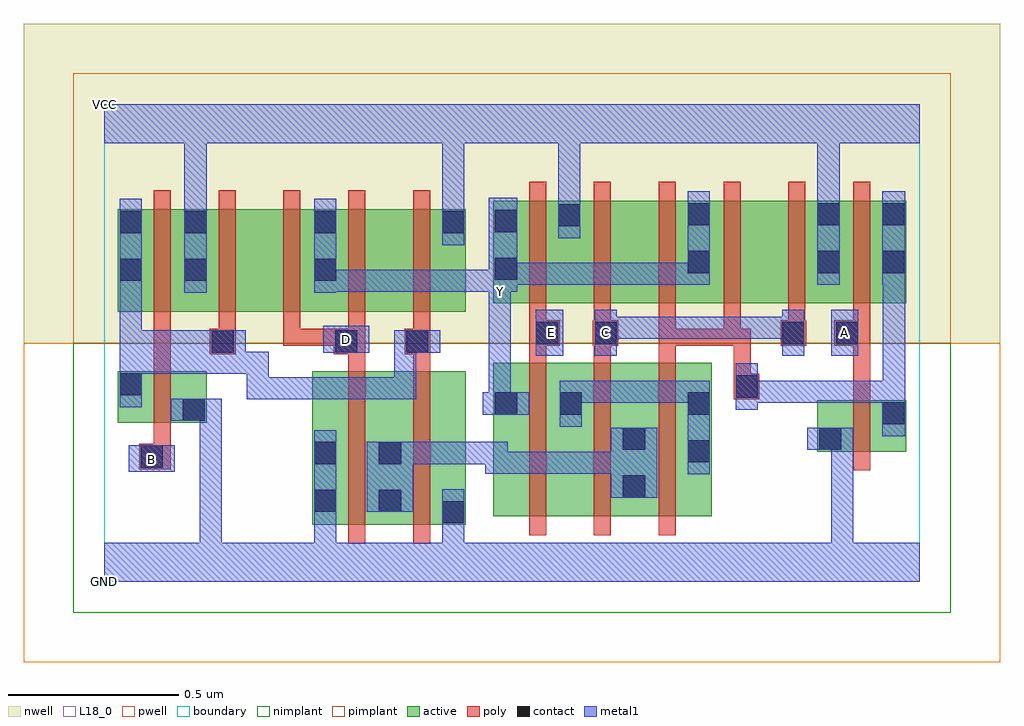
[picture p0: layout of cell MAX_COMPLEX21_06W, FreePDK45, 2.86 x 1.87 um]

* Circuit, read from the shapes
.subckt MAX_COMPLEX21_06W A B C D E GND VCC Y
M1 GND B n1 VSUBS nfet w=0.15u l=0.05u
M2 n2 D GND VSUBS nfet w=0.45u l=0.05u
M3 GND n1 n2 VSUBS nfet w=0.45u l=0.05u
M4 n3 E Y VSUBS nfet w=0.45u l=0.05u
M5 n2 C n3 VSUBS nfet w=0.45u l=0.05u
M6 n3 n4 n2 VSUBS nfet w=0.45u l=0.05u
M7 n4 A GND VSUBS nfet w=0.15u l=0.05u
M8 VCC B n1 n5 pfet w=0.3u l=0.05u
M9 n6 n1 VCC n5 pfet w=0.3u l=0.05u
M10 Y D n6 n5 pfet w=0.3u l=0.05u
M11 n7 D Y n5 pfet w=0.3u l=0.05u
M12 VCC n1 n7 n5 pfet w=0.3u l=0.05u
M13 VCC E Y n5 pfet w=0.3u l=0.05u
M14 n8 C VCC n5 pfet w=0.3u l=0.05u
M15 Y n4 n8 n5 pfet w=0.3u l=0.05u
M16 n9 n4 Y n5 pfet w=0.3u l=0.05u
M17 VCC C n9 n5 pfet w=0.3u l=0.05u
M18 n4 A VCC n5 pfet w=0.3u l=0.05u
.ends

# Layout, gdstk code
import gdstk
lib = gdstk.Library(unit=1e-6, precision=1e-09)
def R(c, l, rs):  # rectangles x0, y0, x1, y1
    for r in rs: c.add(gdstk.rectangle(r[:2], r[2:], *l))
def A(c, l, x, y, w, h, nx, ny, dx, dy):  # array of equal rectangles
    R(c, l, [(x+i*dx, y+j*dy, x+i*dx+w, y+j*dy+h) for i in range(nx) for j in range(ny)])
active = (1, 0)
pwell = (2, 0)
nwell = (3, 0)
nimplant = (4, 0)
pimplant = (5, 0)
poly = (9, 0)
contact = (10, 0)
metal1 = (11, 0)
L18_0 = (18, 0)
boundary = (235, 0)

max_complex21_06w = lib.new_cell('MAX_COMPLEX21_06W')
R(max_complex21_06w, active, [(0.61,0.167,0.875,0.617), (0.8,0.167,1.06,0.617), (0.985,0.167,1.06,0.385), (1.14,0.192,1.405,0.642), (1.33,0.192,1.59,0.642), (1.515,0.192,1.78,0.642), (0.61,0.195,0.685,0.617), (0.8,0.195,0.875,0.542), (1.14,0.195,1.215,0.642), (1.33,0.195,1.405,0.642), (1.515,0.195,1.59,0.542), (1.705,0.195,1.78,0.642), (2.09,0.382,2.35,0.532), (2.09,0.382,2.165,0.532), (2.275,0.412,2.35,0.532), (0.04,0.467,0.3,0.617), (0.225,0.467,0.3,0.617), (0.04,0.495,0.115,0.617), (0.04,0.792,0.115,1.092), (0.04,0.792,0.305,1.092), (0.23,0.792,0.305,1.092), (0.23,0.792,0.455,1.092), (0.455,0.792,0.685,1.092), (0.61,0.792,0.685,1.092), (0.61,0.792,0.835,1.092), (0.835,0.792,1.06,1.092), (0.985,0.792,1.06,1.092), (1.14,0.817,1.215,1.117), (1.14,0.817,1.4,1.117), (1.325,0.817,1.555,1.117), (1.555,0.817,1.78,1.117), (1.705,0.817,1.78,1.117), (1.705,0.817,1.935,1.117), (1.935,0.817,2.16,1.117), (2.085,0.817,2.16,1.117), (2.085,0.817,2.35,1.117), (2.275,0.817,2.35,1.117), (1.325,0.852,1.4,1.117)])
R(max_complex21_06w, pwell, [(-0.235,-0.235,2.625,0.7)])
R(max_complex21_06w, nwell, [(-0.235,0.7,2.625,1.635)])
R(max_complex21_06w, nimplant, [(-0.09,-0.09,2.48,0.7)])
R(max_complex21_06w, pimplant, [(-0.09,0.7,2.48,1.49)])
A(max_complex21_06w, poly, 1.245, 0.137, 0.05, 0.56, 3, 1, 0.19, 0)
A(max_complex21_06w, poly, 1.245, 0.647, 0.05, 0.095, 3, 1, 0.19, 0)
A(max_complex21_06w, poly, 0.145, 0.692, 0.05, 0.095, 5, 1, 0.19, 0)
A(max_complex21_06w, poly, 0.145, 0.737, 0.05, 0.41, 5, 1, 0.19, 0)
A(max_complex21_06w, poly, 1.245, 0.762, 0.05, 0.41, 6, 1, 0.19, 0)
R(max_complex21_06w, poly, [(0.715,0.112,0.765,0.672), (0.905,0.112,0.955,0.672), (2.195,0.327,2.245,0.587), (0.102,0.33,0.195,0.405), (0.145,0.355,0.195,0.462), (0.145,0.412,0.195,0.672), (1.845,0.535,1.92,0.61), (2.195,0.537,2.245,0.742), (1.845,0.56,1.895,0.742), (0.145,0.622,0.195,0.742), (0.715,0.622,0.765,0.717), (0.905,0.622,0.955,0.717), (0.31,0.667,0.385,0.742), (0.672,0.667,0.765,0.742), (0.88,0.667,0.955,0.742), (0.145,0.692,0.195,0.742), (0.525,0.692,0.575,0.742), (0.525,0.692,0.575,0.742), (0.525,0.692,0.575,0.742), (0.525,0.692,0.722,0.742), (1.245,0.692,1.335,0.767), (1.432,0.692,1.507,0.767), (1.625,0.692,1.675,0.812), (1.625,0.692,1.675,0.742), (1.625,0.692,1.865,0.742), (1.815,0.692,1.865,0.812), (1.815,0.692,1.865,0.742), (1.815,0.692,1.865,0.742), (1.815,0.692,1.865,0.742), (1.815,0.692,1.865,0.742), (1.815,0.692,1.895,0.742), (1.982,0.692,2.057,0.767), (2.14,0.692,2.245,0.767), (1.245,0.717,1.295,0.812), (1.435,0.717,1.485,0.812), (2.005,0.717,2.055,0.812), (2.195,0.717,2.245,0.812)])
R(max_complex21_06w, contact, [(0.99,0.172,1.055,0.237), (0.615,0.205,0.68,0.27), (0.805,0.205,0.87,0.27), (1.52,0.247,1.585,0.312), (0.107,0.335,0.172,0.4), (0.615,0.345,0.68,0.41), (0.805,0.345,0.87,0.41), (1.71,0.35,1.775,0.415), (1.52,0.387,1.585,0.452), (2.095,0.387,2.16,0.452), (2.28,0.462,2.345,0.527), (0.23,0.472,0.295,0.537), (1.145,0.49,1.21,0.555), (1.335,0.49,1.4,0.555), (1.71,0.49,1.775,0.555), (1.85,0.54,1.915,0.605), (0.045,0.547,0.11,0.612), (0.315,0.672,0.38,0.737), (0.677,0.672,0.742,0.737), (0.885,0.672,0.95,0.737), (1.265,0.697,1.33,0.762), (1.437,0.697,1.502,0.762), (1.987,0.697,2.052,0.762), (2.145,0.697,2.21,0.762), (0.045,0.882,0.11,0.947), (0.235,0.882,0.3,0.947), (0.615,0.882,0.68,0.947), (1.145,0.885,1.21,0.95), (1.71,0.905,1.775,0.97), (2.09,0.905,2.155,0.97), (2.28,0.905,2.345,0.97), (0.045,1.022,0.11,1.087), (0.235,1.022,0.3,1.087), (0.615,1.022,0.68,1.087), (0.99,1.022,1.055,1.087), (1.145,1.025,1.21,1.09), (1.33,1.042,1.395,1.107), (1.71,1.045,1.775,1.11), (2.09,1.045,2.155,1.11), (2.28,1.045,2.345,1.11)])
R(max_complex21_06w, metal1, [(0,0,2.39,0.115), (0.28,0.05,0.345,0.115), (0.28,0.05,0.345,0.115), (0.28,0.05,0.345,0.115), (0.28,0.05,0.345,0.115), (0.28,0.05,0.345,0.115), (0.28,0.05,0.345,0.115), (0.28,0.05,0.345,0.537), (0.615,0.05,0.68,0.235), (0.99,0.05,1.055,0.115), (0.99,0.05,1.055,0.115), (0.99,0.05,1.055,0.202), (2.13,0.05,2.195,0.115), (2.13,0.05,2.195,0.115), (2.13,0.05,2.195,0.115), (2.13,0.05,2.195,0.115), (2.13,0.05,2.195,0.115), (2.13,0.05,2.195,0.115), (2.13,0.05,2.195,0.452), (0.99,0.137,1.055,0.272), (0.615,0.17,0.68,0.235), (0.615,0.17,0.68,0.235), (0.615,0.17,0.68,0.445), (0.77,0.205,0.905,0.41), (1.485,0.247,1.62,0.452), (1.71,0.315,1.775,0.59), (1.117,0.317,1.182,0.41), (1.117,0.317,1.347,0.382), (1.282,0.317,1.347,0.382), (1.282,0.317,1.347,0.382), (1.282,0.317,1.347,0.382), (1.282,0.317,1.55,0.382), (1.485,0.317,1.55,0.382), (1.485,0.317,1.55,0.382), (0.072,0.322,0.207,0.4), (0.84,0.345,1.037,0.41), (0.972,0.345,1.037,0.41), (0.972,0.345,1.182,0.41), (1.117,0.345,1.182,0.41), (1.117,0.345,1.182,0.41), (2.06,0.387,2.195,0.452), (2.28,0.427,2.347,0.562), (1.335,0.455,1.4,0.59), (0.195,0.472,0.345,0.537), (1.11,0.49,1.245,0.555), (1.127,0.49,1.192,0.847), (2.28,0.497,2.345,0.562), (2.28,0.497,2.345,0.59), (2.282,0.497,2.347,0.935), (1.85,0.505,1.915,0.64), (0.045,0.512,0.11,0.647), (1.335,0.525,1.537,0.59), (1.472,0.525,1.537,0.59), (1.472,0.525,1.537,0.59), (1.472,0.525,1.537,0.59), (1.472,0.525,1.775,0.59), (1.71,0.525,1.775,0.59), (1.71,0.525,1.775,0.59), (1.85,0.525,1.915,0.59), (1.85,0.525,1.915,0.59), (1.85,0.525,1.915,0.59), (1.85,0.525,1.915,0.59), (1.85,0.525,2.052,0.59), (1.987,0.525,2.052,0.59), (1.987,0.525,2.052,0.59), (1.987,0.525,2.052,0.59), (1.987,0.525,2.345,0.59), (0.417,0.535,0.482,0.6), (0.417,0.535,0.482,0.6), (0.417,0.535,0.697,0.6), (0.417,0.535,0.482,0.675), (0.632,0.535,0.697,0.6), (0.632,0.535,0.697,0.6), (0.632,0.535,0.697,0.6), (0.632,0.535,0.915,0.6), (0.85,0.535,0.915,0.6), (0.85,0.535,0.915,0.737), (0.045,0.582,0.11,0.647), (0.045,0.582,0.11,0.675), (0.045,0.582,0.11,0.737), (0.045,0.61,0.345,0.675), (0.28,0.61,0.345,0.675), (0.28,0.61,0.345,0.675), (0.28,0.61,0.345,0.675), (0.28,0.61,0.482,0.675), (1.265,0.662,1.345,0.797), (1.437,0.662,1.502,0.797), (1.987,0.662,2.052,0.797), (2.13,0.662,2.21,0.797), (0.045,0.672,0.11,0.737), (0.045,0.672,0.11,0.737), (0.045,0.672,0.11,0.737), (0.045,0.672,0.345,0.737), (0.045,0.672,0.11,0.912), (0.28,0.672,0.345,0.737), (0.28,0.672,0.345,0.737), (0.28,0.672,0.415,0.737), (0.642,0.672,0.777,0.75), (0.85,0.672,0.915,0.737), (0.85,0.672,0.915,0.737), (0.85,0.672,0.985,0.737), (1.437,0.712,1.537,0.777), (1.472,0.712,1.537,0.777), (1.472,0.712,1.777,0.777), (1.712,0.712,1.777,0.777), (1.712,0.712,1.777,0.777), (1.712,0.712,1.777,0.777), (1.712,0.712,1.915,0.777), (1.85,0.712,1.915,0.777), (1.85,0.712,1.915,0.777), (1.85,0.712,1.915,0.777), (1.85,0.712,2.052,0.777), (1.127,0.782,1.192,0.917), (0.045,0.847,0.11,1.122), (0.235,0.847,0.3,1.122), (0.615,0.847,0.68,1.122), (0.615,0.85,0.68,0.915), (0.615,0.85,0.68,0.915), (0.615,0.85,0.917,0.915), (0.852,0.85,0.917,0.915), (0.852,0.85,0.917,0.915), (0.852,0.85,0.917,0.915), (0.852,0.85,1.192,0.915), (1.127,0.85,1.192,0.915), (1.127,0.85,1.192,0.915), (1.127,0.85,1.21,1.125), (1.127,0.852,1.192,0.917), (1.145,0.87,1.365,0.935), (1.3,0.87,1.365,0.935), (1.3,0.87,1.365,0.935), (1.3,0.87,1.365,0.935), (1.3,0.87,1.537,0.935), (1.472,0.87,1.537,0.935), (1.472,0.87,1.537,0.935), (1.472,0.87,1.537,0.935), (1.472,0.87,1.775,0.935), (1.71,0.87,1.775,0.935), (1.71,0.87,1.775,0.935), (1.71,0.87,1.775,1.145), (2.09,0.87,2.155,1.145), (2.28,0.87,2.347,1.145), (2.282,0.87,2.347,0.935), (2.282,0.87,2.347,0.935), (0.99,0.987,1.055,1.122), (1.33,1.007,1.395,1.142), (0.235,1.057,0.3,1.35), (0.99,1.057,1.055,1.35), (1.33,1.077,1.395,1.35), (2.09,1.08,2.155,1.35), (0,1.285,2.39,1.4), (0.235,1.285,0.3,1.35), (0.235,1.285,0.3,1.35), (0.99,1.285,1.055,1.35), (0.99,1.285,1.055,1.35), (1.33,1.285,1.395,1.35), (1.33,1.285,1.395,1.35), (2.09,1.285,2.155,1.35), (2.09,1.285,2.155,1.35)])
R(max_complex21_06w, L18_0, [(0,0,2.39,0.115), (0.28,0.05,0.345,0.115), (0.28,0.05,0.345,0.115), (0.28,0.05,0.345,0.115), (0.28,0.05,0.345,0.115), (0.28,0.05,0.345,0.115), (0.28,0.05,0.345,0.115), (0.28,0.05,0.345,0.537), (0.615,0.05,0.68,0.235), (0.99,0.05,1.055,0.115), (0.99,0.05,1.055,0.115), (0.99,0.05,1.055,0.202), (2.13,0.05,2.195,0.115), (2.13,0.05,2.195,0.115), (2.13,0.05,2.195,0.115), (2.13,0.05,2.195,0.115), (2.13,0.05,2.195,0.115), (2.13,0.05,2.195,0.115), (2.13,0.05,2.195,0.452), (0.99,0.137,1.055,0.272), (0.615,0.17,0.68,0.235), (0.615,0.17,0.68,0.235), (0.615,0.17,0.68,0.445), (0.072,0.322,0.207,0.4), (0.107,0.327,0.172,0.392), (2.06,0.387,2.195,0.452), (0.195,0.472,0.345,0.537), (1.11,0.49,1.245,0.555), (1.127,0.49,1.192,0.847), (1.265,0.662,1.345,0.797), (1.437,0.662,1.502,0.797), (1.987,0.662,2.052,0.797), (2.13,0.662,2.21,0.797), (0.642,0.672,0.777,0.75), (0.677,0.677,0.742,0.742), (1.277,0.697,1.342,0.762), (1.437,0.697,1.502,0.762), (2.137,0.697,2.202,0.762), (1.437,0.712,1.537,0.777), (1.472,0.712,1.537,0.777), (1.472,0.712,1.777,0.777), (1.712,0.712,1.777,0.777), (1.712,0.712,1.777,0.777), (1.712,0.712,1.777,0.777), (1.712,0.712,1.915,0.777), (1.85,0.712,1.915,0.777), (1.85,0.712,1.915,0.777), (1.85,0.712,1.915,0.777), (1.85,0.712,2.052,0.777), (1.127,0.782,1.192,0.917), (1.127,0.817,1.192,0.882), (0.235,0.847,0.3,1.122), (0.615,0.847,0.68,1.122), (0.615,0.85,0.68,0.915), (0.615,0.85,0.68,0.915), (0.615,0.85,0.917,0.915), (0.852,0.85,0.917,0.915), (0.852,0.85,0.917,0.915), (0.852,0.85,0.917,0.915), (0.852,0.85,1.192,0.915), (1.127,0.85,1.192,0.915), (1.127,0.85,1.192,0.915), (1.127,0.85,1.21,1.125), (1.127,0.852,1.192,0.917), (1.145,0.87,1.365,0.935), (1.3,0.87,1.365,0.935), (1.3,0.87,1.365,0.935), (1.3,0.87,1.365,0.935), (1.3,0.87,1.537,0.935), (1.472,0.87,1.537,0.935), (1.472,0.87,1.537,0.935), (1.472,0.87,1.537,0.935), (1.472,0.87,1.775,0.935), (1.71,0.87,1.775,0.935), (1.71,0.87,1.775,0.935), (1.71,0.87,1.775,1.145), (2.09,0.87,2.155,1.145), (0.99,0.987,1.055,1.122), (1.33,1.007,1.395,1.142), (0.235,1.057,0.3,1.35), (0.99,1.057,1.055,1.35), (1.33,1.077,1.395,1.35), (2.09,1.08,2.155,1.35), (0,1.285,2.39,1.4), (0.235,1.285,0.3,1.35), (0.235,1.285,0.3,1.35), (0.99,1.285,1.055,1.35), (0.99,1.285,1.055,1.35), (1.33,1.285,1.395,1.35), (1.33,1.285,1.395,1.35), (2.09,1.285,2.155,1.35), (2.09,1.285,2.155,1.35)])
R(max_complex21_06w, boundary, [(0,0,2.39,1.4)])
max_complex21_06w.add(gdstk.Label('A', (2.17,0.73), layer=11, texttype=0))
max_complex21_06w.add(gdstk.Label('B', (0.14,0.36), layer=11, texttype=0))
max_complex21_06w.add(gdstk.Label('C', (1.47,0.73), layer=11, texttype=0))
max_complex21_06w.add(gdstk.Label('D', (0.71,0.71), layer=11, texttype=0))
max_complex21_06w.add(gdstk.Label('E', (1.31,0.73), layer=11, texttype=0))
max_complex21_06w.add(gdstk.Label('Y', (1.16,0.85), layer=11, texttype=0))
max_complex21_06w.add(gdstk.Label('VCC', (0,1.4), layer=11, texttype=0))
max_complex21_06w.add(gdstk.Label('GND', (0,0), layer=11, texttype=0))

lib.write_gds('MAX_COMPLEX21_06W.gds')
